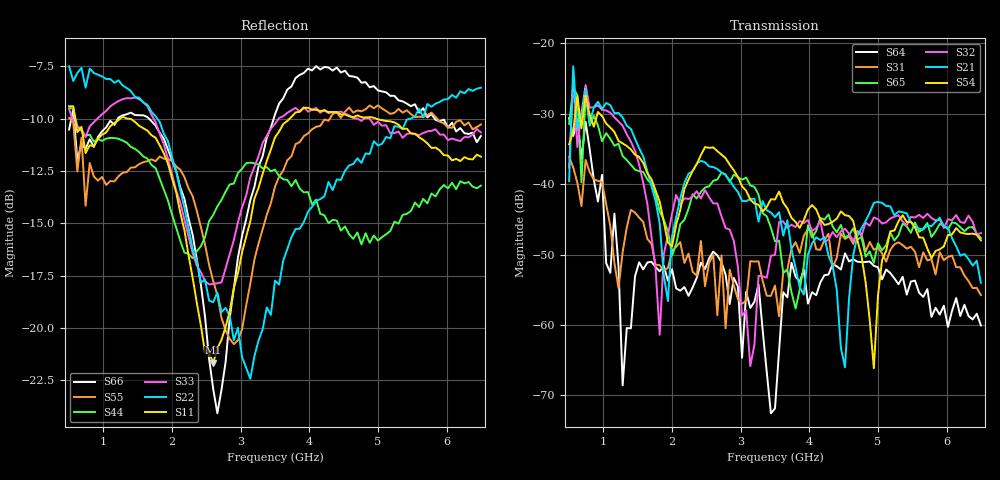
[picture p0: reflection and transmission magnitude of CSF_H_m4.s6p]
!Keysight Technologies,M9804A,MY58100912,A.14.10.03
!Date: Thursday, April 27, 2023 10:28:33
!Correction: S11(C  6-Port  )
!S12(C  6-Port  )
!S13(C  6-Port  )
!S14(C  6-Port  )
!S15(C  6-Port  )
!S16(C  6-Port  )
!S21(C  6-Port  )
!S22(C  6-Port  )
!S23(C  6-Port  )
!S24(C  6-Port  )
!S25(C  6-Port  )
!S26(C  6-Port  )
!S31(C  6-Port  )
!S32(C  6-Port  )
!S33(C  6-Port  )
!S34(C  6-Port  )
!S35(C  6-Port  )
!S36(C  6-Port  )
!S41(C  6-Port  )
!S42(C  6-Port  )
!S43(C  6-Port  )
!S44(C  6-Port  )
!S45(C  6-Port  )
!S46(C  6-Port  )
!S51(C  6-Port  )
!S52(C  6-Port  )
!S53(C  6-Port  )
!S54(C  6-Port  )
!S55(C  6-Port  )
!S56(C  6-Port  )
!S61(C  6-Port  )
!S62(C  6-Port  )
!S63(C  6-Port  )
!S64(C  6-Port  )
!S65(C  6-Port  )
!S66(C  6-Port  )
!S6P File: Measurement: :
# Hz S  RI  R 50
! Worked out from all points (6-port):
!   101 points, 500 MHz to 6.5 GHz, reference 50 ohm
!   strongest paths, dB at 500 MHz, 2 GHz, 3.5 GHz, 5 GHz, 6.5 GHz:
!     S54: -34.3, -48.8, -42.2, -55.9, -48.0
!     S21: -39.5, -47.4, -44.7, -42.5, -54.0
!     S32: -37.6, -44.2, -50.1, -45.0, -47.0
!     S65: -31.4, -50.1, -48.1, -48.4, -47.7
!     S31: -36.1, -49.5, -54.4, -49.0, -55.8
!     S64: -30.6, -52.1, -71.9, -51.8, -60.1
!   lowest |S11| = -21.7 dB at 2.6 GHz (marker M1), VSWR 1.18, Z = 42.6 + j1.97 ohm
!   |S11| at or under -10 dB: 588.6 MHz to 1.245 GHz (656.7 MHz wide, 71.6 % of centre); 1.346 GHz to 3.715 GHz (2.369 GHz wide, 93.6 % of centre); 4.971 GHz to end of sweep
